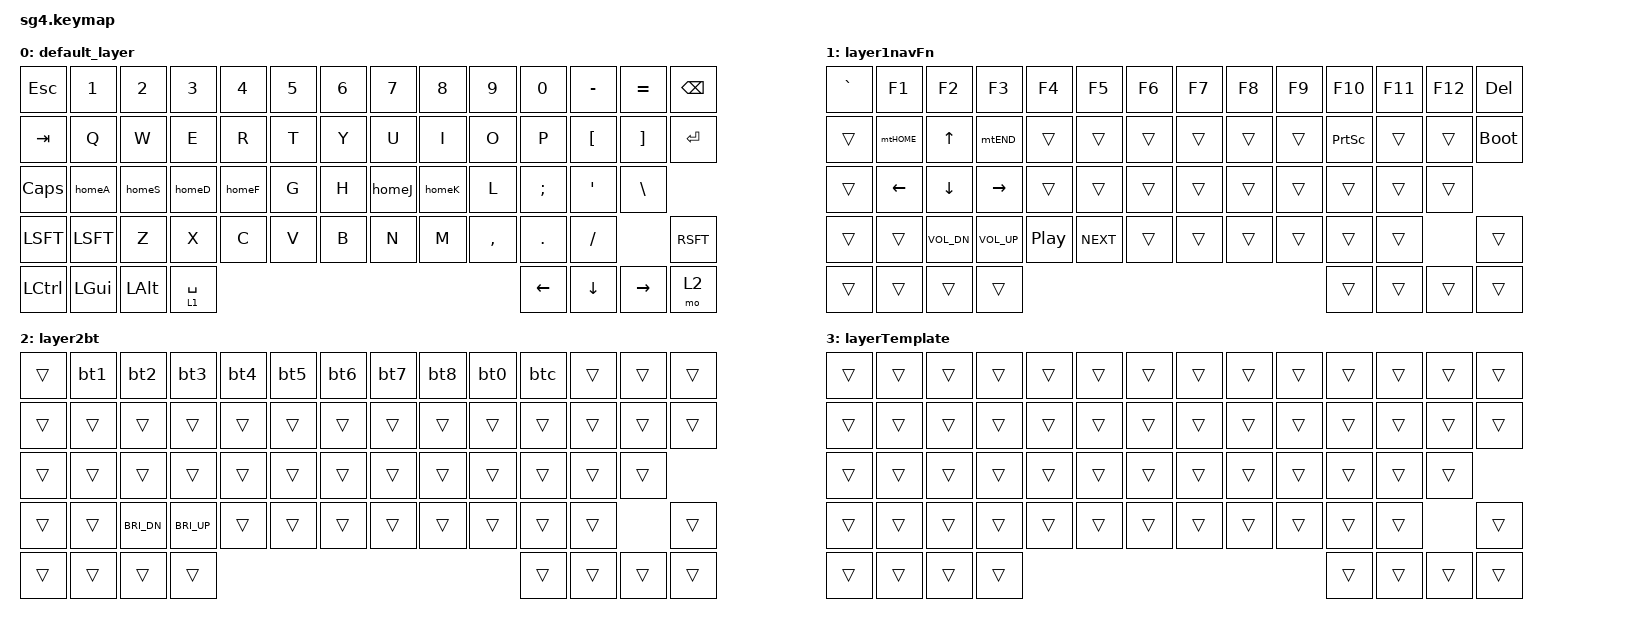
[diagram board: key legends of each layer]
#include <behaviors.dtsi>
#include <dt-bindings/zmk/keys.h>
#include <dt-bindings/zmk/bt.h>

#define btc    bt BT_CLR
#define bt0    bt BT_SEL 0
#define bt1    bt BT_SEL 1
#define bt2    bt BT_SEL 2
#define bt3    bt BT_SEL 3
#define bt4    bt BT_SEL 4
#define bt5    bt BT_SEL 5
#define bt6    bt BT_SEL 6
#define bt7    bt BT_SEL 7
#define bt8    bt BT_SEL 8

#define mtHOME mt LC(HOME) HOME
#define mtEND  mt LC(END) END

#define B_UP    C_BRI_UP
#define B_DN    C_BRI_DN
#define V_DN    C_VOL_DN
#define V_UP    C_VOL_UP
#define PLAY    C_PLAY_PAUSE
#define NEXT    C_NEXT

#define homeA   hm LGUI   A
#define homeS   hm LALT   S
#define homeD   hm LSHIFT D
#define homeF   hm LCTRL  F
#define homeJ   hm RCTRL  J
#define homeK   hm RSHIFT K

/ {
macros {
        ZMK_MACRO(task_manager, wait-ms = <30>; tap-ms = <40>; bindings
            = <&macro_press   &kp LCTRL &kp LSHIFT>
            , <&macro_tap     &kp ESC>
            , <&macro_release &kp LSHIFT &kp LCTRL>
            ;
        )

        ZMK_MACRO(m_al_tab, wait-ms = <30>; tap-ms = <40>; bindings
            = <&macro_press   &kp LALT>
            , <&macro_tap     &kp TAB>
            , <&macro_pause_for_release>
            , <&macro_release &kp LALT>
            ;
        )

        ZMK_MACRO(m_ct_tab, wait-ms = <30>; tap-ms = <40>; bindings
            = <&macro_press   &kp LCTRL>
            , <&macro_tap     &kp TAB>
            , <&macro_pause_for_release>
            , <&macro_release &kp LCTRL>
            ;
        )

        #define short_m wait-ms = <20>; tap-ms = <20>; bindings =

        ZMK_MACRO(m_copy_all,   short_m <&macro_tap &kp LC(HOME) &kp LC(LS(END)) &kp LC(INS) &kp LC(C)                        > ; )
        ZMK_MACRO(m_paste_all,  short_m <&macro_tap &kp LC(HOME) &kp LC(LS(END)) &kp LS(INS)                                  > ; )
        ZMK_MACRO(m_cut_all,    short_m <&macro_tap &kp LC(HOME) &kp LC(LS(END)) &kp LS(DEL)                                  > ; )
        ZMK_MACRO(m_copy,       short_m <&macro_tap &kp LC(INS) &kp LC(C)                                                     > ; )
        ZMK_MACRO(m_paste,      short_m <&macro_tap &kp LS(INS)                                                               > ; )
        ZMK_MACRO(m_cut,        short_m <&macro_tap &kp LS(DEL)                                                               > ; )
        ZMK_MACRO(m_backsp,     short_m <&macro_tap &kp BSPC                                                                  > ; )
        ZMK_MACRO(m_del_line,   short_m <&macro_tap &kp HOME &kp HOME &kp LS(END) &kp LS(RIGHT) &kp DEL                       > ; )
        ZMK_MACRO(m_undo,       short_m <&macro_tap &kp LC(Z)                                                                 > ; )
        ZMK_MACRO(m_redo,       short_m <&macro_tap &kp LC(LS(Z))                                                             > ; )
        ZMK_MACRO(m_clip_man,   short_m <&macro_tap &kp LG(V)                                                                 > ; )
        ZMK_MACRO(m_clip_prev,  short_m <&macro_tap &kp LG(V)>, <&macro_wait_time 200>, <&macro_tap &kp DOWN &kp DOWN &kp RET > ; )
        ZMK_MACRO(m_ret,        short_m <&macro_tap &kp RET                                                                   > ; )
        ZMK_MACRO(m_c_ret,      short_m <&macro_tap &kp LC(RET)                                                               > ; )
    };

    behaviors {
        hm: homerow_mods {  // allows repeating z
            compatible = "zmk,behavior-hold-tap";
            #binding-cells = <2>;
            tapping-term-ms = <200>;
            quick-tap-ms = <200>;
            require-prior-idle-ms = <75>;
            flavor = "tap-preferred";
            bindings = <&kp>, <&kp>;
            // retro-tap;
        };

        #define short_ht compatible = "zmk,behavior-hold-tap"; #binding-cells = <2>; flavor = "tap-preferred"; tapping-term-ms = <200>; quick-tap-ms = <0>;

        ht_c_ret:         hold_tap_ctrl_ret      { short_ht bindings = <&m_c_ret>,     <&m_ret>; };
        ht_copy_all:      hold_tap_copy_all      { short_ht bindings = <&m_copy_all>,  <&m_copy>; };
        ht_paste_all:     hold_tap_paste_all     { short_ht bindings = <&m_paste_all>, <&m_paste>; };
        ht_cut_all:       hold_tap_cut_all       { short_ht bindings = <&m_cut_all>,   <&m_cut>; };
        ht_backsp_line:   hold_tap_backsp_line   { short_ht bindings = <&m_del_line>,  <&m_backsp>; };
        ht_clip_man:      hold_tap_clip_man_prev { short_ht bindings = <&m_clip_prev>, <&m_clip_man>; };
        ht_undo_redo:     hold_tap_undo_redo     { short_ht bindings = <&m_redo>,      <&m_undo>; };
    };

    combos {
        compatible = "zmk,combos";
        combo_del      { key-positions = <16 17   >; bindings = <&kp DEL      >; layers = <0  >; };  // WE
        combo_esc      { key-positions = <30 32   >; bindings = <&kp ESC      >; layers = <0  >; };  // SF
        combo_ret      { key-positions = <31 32   >; bindings = <&ht_c_ret 0 0>; layers = <0  >; };  // DF
        combo_task     { key-positions = <15 16   >; bindings = <&task_manager>; layers = <0  >; };  // QW
        combo_cshf     { key-positions = <43 32   >; bindings = <&sk LS(LCTRL)>; layers = <0  >; };  // ZF
        combo_capsw    { key-positions = <29 43   >; bindings = <&caps_word   >; layers = <0  >; };  // AZ
        combo_capsw2   { key-positions = <31 36   >; bindings = <&caps_word   >; layers = <0  >; };  // DK
// 00esc               01n1      02n2      03n3      04n4      05n5      06n6      07n7      08n8      09n9      10n0      11minus   12equal   13bspc
// 14tab               15q       16w       17e       18r       19t       20y       21u       22i       23o       24p       25lbkt    26rbkt    27ret
// 28clck              29a       30s       31d       32f       33g       34h       35j       36k       37l       38semi    39sqt     40bslh
// 41lsft    42lsft    43z       44x       45c       46v       47b       48n       49m       50comma   51dot     52fslh                        53rsft
// 54lctl    55lgui    56lalt                                  57space                                 58left    59down    60right             61mo2
        combo_repeat   { key-positions = <17 18   >; bindings = <&key_repeat >;          layers = <0>; };  // ER
        combo_al_tab   { key-positions = <30 57   >; bindings = <&m_al_tab >;            layers = <0>; slow-release; };  // Stab
        combo_ct_tab   { key-positions = <32 57   >; bindings = <&m_ct_tab >;            layers = <0>; slow-release; };  // Ftab
        combo_copy_all { key-positions = <44 45   >; bindings = <&ht_copy_all 0 0>;      layers = <0>; };  // XC
        combo_paste_all{ key-positions = <45 46   >; bindings = <&ht_paste_all 0 0>;     layers = <0>; };  // CV
        combo_cut_all  { key-positions = <43 44   >; bindings = <&ht_cut_all 0 0>;       layers = <0>; };  // ZX
        combo_bsp_line { key-positions = <30 31   >; bindings = <&ht_backsp_line 0 0>;   layers = <0>; };  // SD
        combo_clip_man { key-positions = <44 45 46>; bindings = <&ht_clip_man 0 0>;      layers = <0>; };  // XCV
        combo_undo     { key-positions = <29 30   >; bindings = <&ht_undo_redo 0 0>;     layers = <0>; };  // AS
    };

    keymap {
        compatible = "zmk,keymap";

        default_layer {
            bindings = <
&kp ESC             &kp N1    &kp N2    &kp N3    &kp N4    &kp N5    &kp N6    &kp N7    &kp N8    &kp N9    &kp N0    &kp MINUS &kp EQUAL &kp BSPC
&kp TAB             &kp Q     &kp W     &kp E     &kp R     &kp T     &kp Y     &kp U     &kp I     &kp O     &kp P     &kp LBKT  &kp RBKT  &kp RET
&kp CLCK            &homeA    &homeS    &homeD    &homeF    &kp G     &kp H     &homeJ    &homeK    &kp L     &kp SEMI  &kp SQT   &kp BSLH
&kp LSFT  &kp LSFT  &kp Z     &kp X     &kp C     &kp V     &kp B     &kp N     &kp M     &kp COMMA &kp DOT   &kp FSLH                      &kp RSFT
&kp LCTL  &kp LGUI  &kp LALT                                &lt 1 SPACE                             &kp LEFT  &kp DOWN  &kp RIGHT           &mo 2
            >;
        };

        layer1navFn {
            bindings = <
&kp GRAVE           &kp F1    &kp F2    &kp F3    &kp F4    &kp F5    &kp F6    &kp F7    &kp F8    &kp F9    &kp F10   &kp F11   &kp F12   &kp DEL
&trans              &mtHOME   &kp UP    &mtEND    &trans    &trans    &trans    &trans    &trans    &trans    &kp PSCRN &trans    &trans    &bootloader
&trans              &kp LEFT  &kp DOWN  &kp RIGHT &trans    &trans    &trans    &trans    &trans    &trans    &trans    &trans    &trans
&trans    &trans    &kp V_DN  &kp V_UP  &kp PLAY  &kp NEXT  &trans    &trans    &trans    &trans    &trans    &trans                        &trans
&trans    &trans    &trans                                  &trans                                  &trans    &trans    &trans              &trans
            >;
        };

        layer2bt {
            bindings = <
&trans              &bt1      &bt2      &bt3      &bt4      &bt5      &bt6      &bt7      &bt8      &bt0      &btc      &trans    &trans    &trans
&trans              &trans    &trans    &trans    &trans    &trans    &trans    &trans    &trans    &trans    &trans    &trans    &trans    &trans
&trans              &trans    &trans    &trans    &trans    &trans    &trans    &trans    &trans    &trans    &trans    &trans    &trans
&trans    &trans    &kp B_DN  &kp B_UP  &trans    &trans    &trans    &trans    &trans    &trans    &trans    &trans                        &trans
&trans    &trans    &trans                                  &trans                                  &trans    &trans    &trans              &trans
            >;
        };

        layerTemplate {
            bindings = <
&trans              &trans    &trans    &trans    &trans    &trans    &trans    &trans    &trans    &trans    &trans    &trans    &trans    &trans
&trans              &trans    &trans    &trans    &trans    &trans    &trans    &trans    &trans    &trans    &trans    &trans    &trans    &trans
&trans              &trans    &trans    &trans    &trans    &trans    &trans    &trans    &trans    &trans    &trans    &trans    &trans
&trans    &trans    &trans    &trans    &trans    &trans    &trans    &trans    &trans    &trans    &trans    &trans                        &trans
&trans    &trans    &trans                                  &trans                                  &trans    &trans    &trans              &trans
            >;
        };
    };
};
